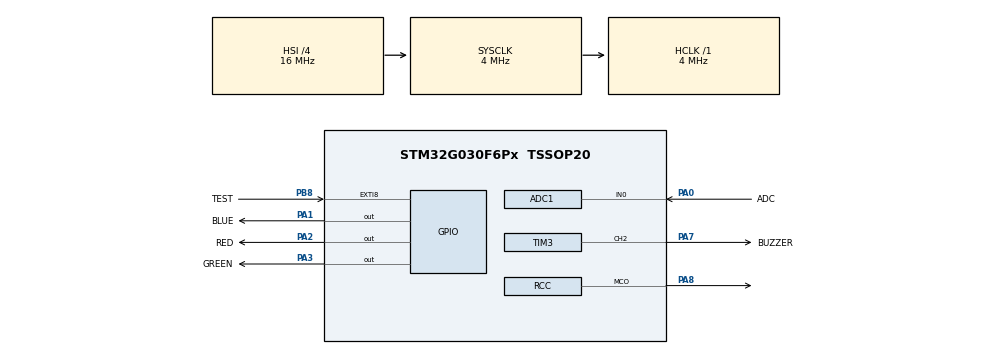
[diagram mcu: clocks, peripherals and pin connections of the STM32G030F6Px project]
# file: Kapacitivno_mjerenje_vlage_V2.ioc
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ADC1.Channel-8\#ChannelRegularConversion=ADC_CHANNEL_0
ADC1.ContinuousConvMode=DISABLE
ADC1.NbrOfConversion=1
ADC1.NbrOfConversionFlag=1
ADC1.Rank-8\#ChannelRegularConversion=1
ADC1.SamplingTime-8\#ChannelRegularConversion=ADC_SAMPLINGTIME_COMMON_1
ADC1.SelectedChannel=ADC_CHANNEL_0
ADC1.master=1
Mcu.Family=STM32G0
Mcu.Name=STM32G030F6Px
Mcu.Package=TSSOP20
NVIC.EXTI4_15_IRQn=true\:0\:0\:false\:true\:true\:2\:true\:true\:true
NVIC.RTC_TAMP_IRQn=true\:0\:0\:false\:true\:true\:1\:true\:true\:true
NVIC.TIM3_IRQn=true\:0\:0\:false\:true\:true\:3\:true\:true\:true
PA0.GPIO_Label=ADC
PA0.Signal=SharedAnalog_PA0
PA1.GPIO_Label=BLUE
PA1.GPIO_PuPd=GPIO_NOPULL
PA1.Signal=GPIO_Output
PA13.Mode=Serial_Wire
PA13.Signal=SYS_SWDIO
PA14-BOOT0.Mode=Serial_Wire
PA14-BOOT0.Signal=SYS_SWCLK
PA14-BOOT0__PA15.StandardMode=true
PA2.GPIO_Label=RED
PA2.Signal=GPIO_Output
PA3.GPIO_Label=GREEN
PA3.Signal=GPIO_Output
PA7.GPIO_Label=BUZZER
PA7.Signal=S_TIM3_CH2
PA8.GPIO_PuPd=GPIO_PULLDOWN
PA8.Mode=Clock-out
PA8.Signal=RCC_MCO
PB0__PB1__PB2__PA8.StandardMode=true
PB3__PB4__PB5__PB6.StandardMode=true
PB7__PB8.StandardMode=true
PB8.GPIO_Label=TEST
PB8.GPIO_ModeDefaultEXTI=GPIO_MODE_IT_FALLING
PB8.GPIO_PuPd=GPIO_PULLUP
PB8.Signal=GPXTI8
PC14-OSC32_IN\ (PC14)__PB9.StandardMode=true
ProjectManager.HeapSize=0x200
ProjectManager.StackSize=0x400
ProjectManager.TargetToolchain=STM32CubeIDE
RCC.ADCFreq_Value=4000000
RCC.AHBFreq_Value=4000000
RCC.CortexFreq_Value=4000000
RCC.EXTERNAL_CLOCK_VALUE=12288000
RCC.HCLKFreq_Value=4000000
RCC.HSE_VALUE=8000000
RCC.HSISYSCLKDivider=RCC_HSI_DIV4
RCC.HSI_VALUE=16000000
RCC.LSE_VALUE=32768
RCC.RCC_MCO1Source=RCC_MCO1SOURCE_PLLCLK
RCC.RCC_MCODiv=RCC_MCODIV_4
RCC.SYSCLKFreq_VALUE=4000000
RCC.VCOOutputFreq_Value=128000000
RTC.WakeUpClock-WakeUp=RTC_WAKEUPCLOCK_CK_SPRE_16BITS
RTC.WakeUpCounter-WakeUp=5
SH.S_TIM3_CH2.0=TIM3_CH2,PWM Generation2 CH2
SH.SharedAnalog_PA0.0=GPIO_Analog
SH.SharedAnalog_PA0.1=ADC1_IN0,IN0
TIM3.Channel-PWM\ Generation2\ CH2=TIM_CHANNEL_2
TIM3.Period=1999
TIM3.Prescaler=0
TIM3.Pulse-PWM\ Generation2\ CH2=1000
VP_RTC_VS_RTC_Activate.Mode=RTC_Enabled
VP_RTC_VS_RTC_WakeUp_intern.Mode=WakeUp
VP_TIM3_VS_ClockSourceINT.Mode=Internal
board=custom

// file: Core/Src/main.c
/* USER CODE BEGIN Header */
/**
  ******************************************************************************
  * @file           : main.c
  * @brief          : Main program body
  ******************************************************************************
  * @attention
  *
  * Copyright (c) 2025 STMicroelectronics.
  * All rights reserved.
  *
  * This software is licensed under terms that can be found in the LICENSE file
  * in the root directory of this software component.
  * If no LICENSE file comes with this software, it is provided AS-IS.
  *
  ******************************************************************************
  */
/* USER CODE END Header */
#include "main.h"

/* USER CODE BEGIN Includes */
uint16_t value= 0;
/* USER CODE END Includes */

ADC_HandleTypeDef hadc1;

RTC_HandleTypeDef hrtc;

TIM_HandleTypeDef htim3;

void SystemClock_Config(void);
static void MX_GPIO_Init(void);
static void MX_ADC1_Init(void);
static void MX_RTC_Init(void);
static void MX_TIM3_Init(void);
static void MX_NVIC_Init(void);

int main(void)
{

  /* MCU Configuration--------------------------------------------------------*/

  /* Reset of all peripherals, Initializes the Flash interface and the Systick. */
  HAL_Init();

  /* Configure the system clock */
  SystemClock_Config();

  /* Initialize all configured peripherals */
  MX_GPIO_Init();
  MX_ADC1_Init();
  MX_RTC_Init();
  MX_TIM3_Init();

  /* Initialize interrupts */
  MX_NVIC_Init();

  /* Infinite loop */
  /* USER CODE BEGIN WHILE */
  while (1)
    {

        HAL_ResumeTick();  // Ponovno uključi SysTick
        HAL_RCC_MCOConfig(RCC_MCO1, RCC_MCO1SOURCE_PLLCLK, RCC_MCODIV_4);// Uključi izlaz takta na MCO (PA8)
        HAL_TIM_PWM_Start(&htim3, TIM_CHANNEL_2);
        HAL_Delay(100);
        // Provjeri je li tipka (PB8) pritisnuta
            if(HAL_GPIO_ReadPin(GPIOB, TEST_Pin) == GPIO_PIN_SET)
            {

        uint32_t startTime = HAL_GetTick(); // Dohvati trenutno vrijeme (vrijeme početka)

        while (HAL_GetTick() - startTime < 500)
        {
            HAL_ADC_Start(&hadc1); // Pokreni ADC
            HAL_ADC_PollForConversion(&hadc1, 20); // Pričekaj završetak konverzije (timeout 20 ms)
            value = HAL_ADC_GetValue(&hadc1); // Dohvati izmjerenu vrijednost
            HAL_Delay(50);
        }

            if (value <= 3350) // Mokro
                {
                    HAL_GPIO_WritePin(GPIOA, RED_Pin, GPIO_PIN_RESET);    // Ugasi crvenu
                    HAL_GPIO_WritePin(GPIOA, GREEN_Pin, GPIO_PIN_RESET);  // Ugasi zelenu
                    HAL_GPIO_WritePin(GPIOA, BLUE_Pin, GPIO_PIN_SET);     // Uključi plavu
                    __HAL_TIM_SET_COMPARE(&htim3, TIM_CHANNEL_2, 0);// PWM isključi (vrijednost usporedbe = 0)
                    HAL_Delay(50); // Kratka pauza (100 ms) između uzorkovanja
                }
                else if (value > 3350 && value < 3550) // Umjereno
                {
                    HAL_GPIO_WritePin(GPIOA, RED_Pin, GPIO_PIN_RESET);    // Ugasi crvenu
                    HAL_GPIO_WritePin(GPIOA, GREEN_Pin, GPIO_PIN_SET);    // Uključi zelenu
                    HAL_GPIO_WritePin(GPIOA, BLUE_Pin, GPIO_PIN_RESET);   // Ugasi plavu
                    __HAL_TIM_SET_COMPARE(&htim3, TIM_CHANNEL_2, 0);// PWM isključi (vrijednost usporedbe = 0)
                    HAL_Delay(50);
                }
                else if (value >= 3550) // Suho
                {
                    HAL_GPIO_WritePin(GPIOA, RED_Pin, GPIO_PIN_SET);      // Uključi crvenu
                    HAL_GPIO_WritePin(GPIOA, GREEN_Pin, GPIO_PIN_RESET);  // Ugasi zelenu
                    HAL_GPIO_WritePin(GPIOA, BLUE_Pin, GPIO_PIN_RESET);   // Ugasi plavu
                    __HAL_TIM_SET_COMPARE(&htim3, TIM_CHANNEL_2, 1000);// PWM uključi s usporednom vrijednosti 1000 (≈50% DT)
                    HAL_Delay(50);

      HAL_GPIO_WritePin(GPIOA, RED_Pin, GPIO_PIN_RESET);
      HAL_GPIO_WritePin(GPIOA, GREEN_Pin, GPIO_PIN_RESET);  // Ugasi zelenu
      HAL_GPIO_WritePin(GPIOA, BLUE_Pin, GPIO_PIN_RESET);   // Ugasi plavu

        // Nakon petlje ugasi crvenu LED-icu
        HAL_RCC_MCOConfig(RCC_MCO1, RCC_MCO1SOURCE_NOCLOCK, RCC_MCODIV_4);
        // Isključi MCO izlaz
        HAL_ADC_Stop(&hadc1);

       HAL_Delay(100); // Kratka pauza radi stabilnosti
        HAL_SuspendTick();
         // Zaustavi SysTick timer (radi uštede energije)
        __HAL_TIM_SET_COMPARE(&htim3, TIM_CHANNEL_2, 0); // PWM OFF
        HAL_TIM_PWM_Stop(&htim3, TIM_CHANNEL_2);
        HAL_PWR_EnterSTOPMode(PWR_LOWPOWERREGULATOR_ON, PWR_SLEEPENTRY_WFI); // Uđi u STOP način rada i čekaj prekid
        SystemClock_Config();
        } else //ako je tipkalo pritisnuto izvedi provjeru zujalice i LED-ice
         {

            uint32_t startTime = HAL_GetTick(); // Dohvati trenutno vrijeme (vrijeme početka)
        	 while (HAL_GetTick() - startTime < 500)
        	        {
        	            HAL_ADC_Start(&hadc1); // Pokreni ADC
        	            HAL_ADC_PollForConversion(&hadc1, 20); // Pričekaj završetak konverzije (timeout 20 ms)
        	            value = HAL_ADC_GetValue(&hadc1); // Dohvati izmjerenu vrijednost
        	            HAL_Delay(50);
        	        }

        	            if (value <= 3300) // Mokro
        	                {
        	                    HAL_GPIO_WritePin(GPIOA, RED_Pin, GPIO_PIN_RESET);    // Ugasi crvenu
        	                    HAL_GPIO_WritePin(GPIOA, GREEN_Pin, GPIO_PIN_RESET);  // Ugasi zelenu
        	                    HAL_GPIO_WritePin(GPIOA, BLUE_Pin, GPIO_PIN_SET);     // Uključi plavu
        	                    __HAL_TIM_SET_COMPARE(&htim3, TIM_CHANNEL_2, 0);// PWM isključi (vrijednost usporedbe = 0)
        	                    HAL_Delay(50);
        	                }
        	                else if (value > 3300 && value < 3550) // Umjereno
        	                {
        	                    HAL_GPIO_WritePin(GPIOA, RED_Pin, GPIO_PIN_RESET);    // Ugasi crvenu
        	                    HAL_GPIO_WritePin(GPIOA, GREEN_Pin, GPIO_PIN_SET);    // Uključi zelenu
        	                    HAL_GPIO_WritePin(GPIOA, BLUE_Pin, GPIO_PIN_RESET);   // Ugasi plavu
        	                    __HAL_TIM_SET_COMPARE(&htim3, TIM_CHANNEL_2, 0);// PWM isključi (vrijednost usporedbe = 0)
        	                    HAL_Delay(50);
        	                }
        	                else if (value >= 3550) // Suho
        	                {
        	                    HAL_GPIO_WritePin(GPIOA, RED_Pin, GPIO_PIN_SET);      // Uključi crvenu
        	                    HAL_GPIO_WritePin(GPIOA, GREEN_Pin, GPIO_PIN_RESET);  // Ugasi zelenu
        	                    HAL_GPIO_WritePin(GPIOA, BLUE_Pin, GPIO_PIN_RESET);   // Ugasi plavu
        	                    __HAL_TIM_SET_COMPARE(&htim3, TIM_CHANNEL_2, 1000);// PWM uključi s usporednom vrijednosti 1000 (≈50% DT)
        	                    HAL_Delay(50);
        	                }

            }
    }
    /* USER CODE END WHILE */
    }
}

void SystemClock_Config(void)
{
  RCC_OscInitTypeDef RCC_OscInitStruct = {0};
  RCC_ClkInitTypeDef RCC_ClkInitStruct = {0};

  /** Configure the main internal regulator output voltage
  */
  HAL_PWREx_ControlVoltageScaling(PWR_REGULATOR_VOLTAGE_SCALE1);

  /** Initializes the RCC Oscillators according to the specified parameters
  * in the RCC_OscInitTypeDef structure.
  */
  RCC_OscInitStruct.OscillatorType = RCC_OSCILLATORTYPE_HSI|RCC_OSCILLATORTYPE_LSI;
  RCC_OscInitStruct.HSIState = RCC_HSI_ON;
  RCC_OscInitStruct.HSIDiv = RCC_HSI_DIV4;
  RCC_OscInitStruct.HSICalibrationValue = RCC_HSICALIBRATION_DEFAULT;
  RCC_OscInitStruct.LSIState = RCC_LSI_ON;
  RCC_OscInitStruct.PLL.PLLState = RCC_PLL_ON;
  RCC_OscInitStruct.PLL.PLLSource = RCC_PLLSOURCE_HSI;
  RCC_OscInitStruct.PLL.PLLM = RCC_PLLM_DIV1;
  RCC_OscInitStruct.PLL.PLLN = 8;
  RCC_OscInitStruct.PLL.PLLP = RCC_PLLP_DIV2;
  RCC_OscInitStruct.PLL.PLLR = RCC_PLLR_DIV2;
  if (HAL_RCC_OscConfig(&RCC_OscInitStruct) != HAL_OK)
  {
    Error_Handler();
  }

  /** Initializes the CPU, AHB and APB buses clocks
  */
  RCC_ClkInitStruct.ClockType = RCC_CLOCKTYPE_HCLK|RCC_CLOCKTYPE_SYSCLK
                              |RCC_CLOCKTYPE_PCLK1;
  RCC_ClkInitStruct.SYSCLKSource = RCC_SYSCLKSOURCE_HSI;
  RCC_ClkInitStruct.AHBCLKDivider = RCC_SYSCLK_DIV1;
  RCC_ClkInitStruct.APB1CLKDivider = RCC_HCLK_DIV1;

  if (HAL_RCC_ClockConfig(&RCC_ClkInitStruct, FLASH_LATENCY_0) != HAL_OK)
  {
    Error_Handler();
  }
  __HAL_RCC_PLLCLKOUT_ENABLE(RCC_PLLRCLK);
  HAL_RCC_MCOConfig(RCC_MCO1, RCC_MCO1SOURCE_PLLCLK, RCC_MCODIV_4);
}

/**
  * @brief NVIC Configuration.
  * @retval None
  */
static void MX_NVIC_Init(void)
{
  /* RTC_TAMP_IRQn interrupt configuration */
  HAL_NVIC_SetPriority(RTC_TAMP_IRQn, 0, 0);
  HAL_NVIC_EnableIRQ(RTC_TAMP_IRQn);
  /* EXTI4_15_IRQn interrupt configuration */
  HAL_NVIC_SetPriority(EXTI4_15_IRQn, 0, 0);
  HAL_NVIC_EnableIRQ(EXTI4_15_IRQn);
  /* TIM3_IRQn interrupt configuration */
  HAL_NVIC_SetPriority(TIM3_IRQn, 0, 0);
  HAL_NVIC_EnableIRQ(TIM3_IRQn);
}

static void MX_ADC1_Init(void)
{

  ADC_ChannelConfTypeDef sConfig = {0};

  /** Configure the global features of the ADC (Clock, Resolution, Data Alignment and number of conversion)
  */
  hadc1.Instance = ADC1;
  hadc1.Init.ClockPrescaler = ADC_CLOCK_SYNC_PCLK_DIV1;
  hadc1.Init.Resolution = ADC_RESOLUTION_12B;
  hadc1.Init.DataAlign = ADC_DATAALIGN_RIGHT;
  hadc1.Init.ScanConvMode = ADC_SCAN_DISABLE;
  hadc1.Init.EOCSelection = ADC_EOC_SINGLE_CONV;
  hadc1.Init.LowPowerAutoWait = DISABLE;
  hadc1.Init.LowPowerAutoPowerOff = DISABLE;
  hadc1.Init.ContinuousConvMode = DISABLE;
  hadc1.Init.NbrOfConversion = 1;
  hadc1.Init.DiscontinuousConvMode = DISABLE;
  hadc1.Init.ExternalTrigConv = ADC_SOFTWARE_START;
  hadc1.Init.ExternalTrigConvEdge = ADC_EXTERNALTRIGCONVEDGE_NONE;
  hadc1.Init.DMAContinuousRequests = DISABLE;
  hadc1.Init.Overrun = ADC_OVR_DATA_PRESERVED;
  hadc1.Init.SamplingTimeCommon1 = ADC_SAMPLETIME_1CYCLE_5;
  hadc1.Init.SamplingTimeCommon2 = ADC_SAMPLETIME_1CYCLE_5;
  hadc1.Init.OversamplingMode = DISABLE;
  hadc1.Init.TriggerFrequencyMode = ADC_TRIGGER_FREQ_HIGH;
  if (HAL_ADC_Init(&hadc1) != HAL_OK)
  {
    Error_Handler();
  }

  /** Configure Regular Channel
  */
  sConfig.Channel = ADC_CHANNEL_0;
  sConfig.Rank = ADC_REGULAR_RANK_1;
  sConfig.SamplingTime = ADC_SAMPLINGTIME_COMMON_1;
  if (HAL_ADC_ConfigChannel(&hadc1, &sConfig) != HAL_OK)
  {
    Error_Handler();
  }

}

static void MX_RTC_Init(void)
{

  /** Initialize RTC Only
  */
  hrtc.Instance = RTC;
  hrtc.Init.HourFormat = RTC_HOURFORMAT_24;
  hrtc.Init.AsynchPrediv = 127;
  hrtc.Init.SynchPrediv = 255;
  hrtc.Init.OutPut = RTC_OUTPUT_DISABLE;
  hrtc.Init.OutPutRemap = RTC_OUTPUT_REMAP_NONE;
  hrtc.Init.OutPutPolarity = RTC_OUTPUT_POLARITY_HIGH;
  hrtc.Init.OutPutType = RTC_OUTPUT_TYPE_OPENDRAIN;
  hrtc.Init.OutPutPullUp = RTC_OUTPUT_PULLUP_NONE;
  if (HAL_RTC_Init(&hrtc) != HAL_OK)
  {
    Error_Handler();
  }

  /** Enable the WakeUp
  */
  if (HAL_RTCEx_SetWakeUpTimer_IT(&hrtc, 5, RTC_WAKEUPCLOCK_CK_SPRE_16BITS) != HAL_OK)
  {
    Error_Handler();
  }

}

static void MX_TIM3_Init(void)
{

  TIM_ClockConfigTypeDef sClockSourceConfig = {0};
  TIM_MasterConfigTypeDef sMasterConfig = {0};
  TIM_OC_InitTypeDef sConfigOC = {0};

  htim3.Instance = TIM3;
  htim3.Init.Prescaler = 0;
  htim3.Init.CounterMode = TIM_COUNTERMODE_UP;
  htim3.Init.Period = 1999;
  htim3.Init.ClockDivision = TIM_CLOCKDIVISION_DIV1;
  htim3.Init.AutoReloadPreload = TIM_AUTORELOAD_PRELOAD_DISABLE;
  if (HAL_TIM_Base_Init(&htim3) != HAL_OK)
  {
    Error_Handler();
  }
  sClockSourceConfig.ClockSource = TIM_CLOCKSOURCE_INTERNAL;
  if (HAL_TIM_ConfigClockSource(&htim3, &sClockSourceConfig) != HAL_OK)
  {
    Error_Handler();
  }
  if (HAL_TIM_PWM_Init(&htim3) != HAL_OK)
  {
    Error_Handler();
  }
  sMasterConfig.MasterOutputTrigger = TIM_TRGO_RESET;
  sMasterConfig.MasterSlaveMode = TIM_MASTERSLAVEMODE_DISABLE;
  if (HAL_TIMEx_MasterConfigSynchronization(&htim3, &sMasterConfig) != HAL_OK)
  {
    Error_Handler();
  }
  sConfigOC.OCMode = TIM_OCMODE_PWM1;
  sConfigOC.Pulse = 1000;
  sConfigOC.OCPolarity = TIM_OCPOLARITY_HIGH;
  sConfigOC.OCFastMode = TIM_OCFAST_DISABLE;
  if (HAL_TIM_PWM_ConfigChannel(&htim3, &sConfigOC, TIM_CHANNEL_2) != HAL_OK)
  {
    Error_Handler();
  }
  HAL_TIM_MspPostInit(&htim3);

}

static void MX_GPIO_Init(void)
{
  GPIO_InitTypeDef GPIO_InitStruct = {0};

  /* GPIO Ports Clock Enable */
  __HAL_RCC_GPIOB_CLK_ENABLE();
  __HAL_RCC_GPIOC_CLK_ENABLE();
  __HAL_RCC_GPIOA_CLK_ENABLE();

  /*Configure GPIO pin Output Level */
  HAL_GPIO_WritePin(GPIOA, BLUE_Pin|RED_Pin|GREEN_Pin, GPIO_PIN_RESET);

  /*Configure GPIO pins : PB7 PB9 PB0 PB1
                           PB2 PB3 PB4 PB5
                           PB6 */
  GPIO_InitStruct.Pin = GPIO_PIN_7|GPIO_PIN_9|GPIO_PIN_0|GPIO_PIN_1
                          |GPIO_PIN_2|GPIO_PIN_3|GPIO_PIN_4|GPIO_PIN_5
                          |GPIO_PIN_6;
  GPIO_InitStruct.Mode = GPIO_MODE_ANALOG;
  GPIO_InitStruct.Pull = GPIO_NOPULL;
  HAL_GPIO_Init(GPIOB, &GPIO_InitStruct);

  /*Configure GPIO pin : TEST_Pin */
  GPIO_InitStruct.Pin = TEST_Pin;
  GPIO_InitStruct.Mode = GPIO_MODE_IT_FALLING;
  GPIO_InitStruct.Pull = GPIO_PULLUP;
  HAL_GPIO_Init(TEST_GPIO_Port, &GPIO_InitStruct);

  /*Configure GPIO pins : PC14 PC15 */
  GPIO_InitStruct.Pin = GPIO_PIN_14|GPIO_PIN_15;
  GPIO_InitStruct.Mode = GPIO_MODE_ANALOG;
  GPIO_InitStruct.Pull = GPIO_NOPULL;
  HAL_GPIO_Init(GPIOC, &GPIO_InitStruct);

  /*Configure GPIO pins : BLUE_Pin RED_Pin GREEN_Pin */
  GPIO_InitStruct.Pin = BLUE_Pin|RED_Pin|GREEN_Pin;
  GPIO_InitStruct.Mode = GPIO_MODE_OUTPUT_PP;
  GPIO_InitStruct.Pull = GPIO_NOPULL;
  GPIO_InitStruct.Speed = GPIO_SPEED_FREQ_LOW;
  HAL_GPIO_Init(GPIOA, &GPIO_InitStruct);

  /*Configure GPIO pins : PA4 PA5 PA6 PA11
                           PA12 PA15 */
  GPIO_InitStruct.Pin = GPIO_PIN_4|GPIO_PIN_5|GPIO_PIN_6|GPIO_PIN_11
                          |GPIO_PIN_12|GPIO_PIN_15;
  GPIO_InitStruct.Mode = GPIO_MODE_ANALOG;
  GPIO_InitStruct.Pull = GPIO_NOPULL;
  HAL_GPIO_Init(GPIOA, &GPIO_InitStruct);

  /*Configure GPIO pin : PA8 */
  GPIO_InitStruct.Pin = GPIO_PIN_8;
  GPIO_InitStruct.Mode = GPIO_MODE_AF_PP;
  GPIO_InitStruct.Pull = GPIO_PULLDOWN;
  GPIO_InitStruct.Speed = GPIO_SPEED_FREQ_LOW;
  GPIO_InitStruct.Alternate = GPIO_AF0_MCO;
  HAL_GPIO_Init(GPIOA, &GPIO_InitStruct);

}

void Error_Handler(void)
{
  __disable_irq();
  while (1)
  {
  }
}
